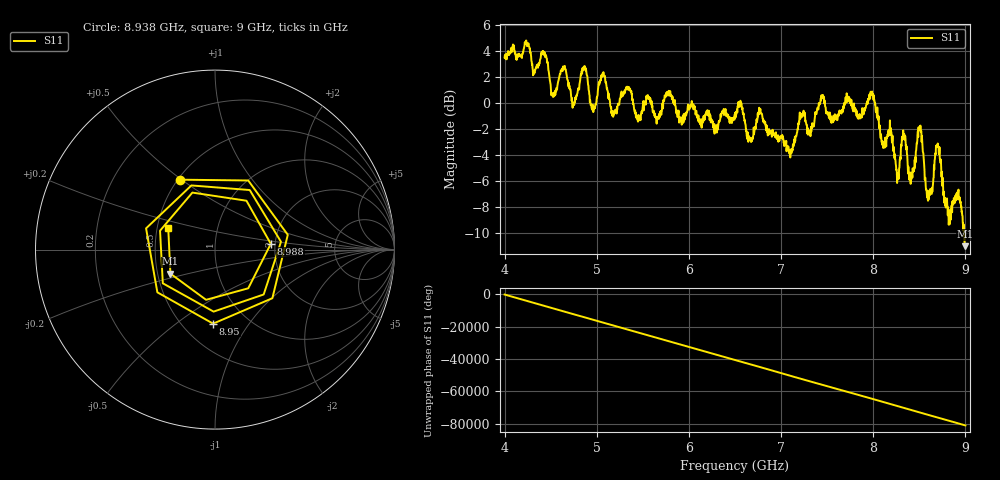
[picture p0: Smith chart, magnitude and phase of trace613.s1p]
! Created with skrf 1.8.0 (http://scikit-rf.org).
# Hz S RI R 50.0
!freq ReS11 ImS11
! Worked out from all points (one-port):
!   1601 points, 4 GHz to 9 GHz, reference 50 ohm
!   lowest |S11| = -11.0 dB at 8.997 GHz (marker M1), VSWR 1.79, Z = 29.2 - j8.49 ohm
!   |S11| at or under -10 dB: 8.986683 GHz to end of sweep
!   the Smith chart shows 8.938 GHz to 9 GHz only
!   S11 on the Smith chart (normalised r, x): 8.938 GHz: 0.51, +0.49; 8.95 GHz: 0.70, -0.69; 8.988 GHz: 1.90, +0.13; 9 GHz: 0.57, +0.15
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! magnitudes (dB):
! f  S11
! 4 GHz  3.5
! 4.428 GHz  3.9
! 4.528 GHz  0.7
! 4.625 GHz  2.6
! 4.75 GHz  -0.1
! 4.859 GHz  2.8
! 4.956 GHz  -0.1
! 5.062 GHz  2.3
! 5.25 GHz  0.3
! 5.875 GHz  -1.1
! 6.5 GHz  -1.1
! 7.125 GHz  -3.6
! 7.441 GHz  0.4
! 7.75 GHz  0.0
! 7.988 GHz  0.9
! 8.259 GHz  -6.1
! 8.325 GHz  -2.1
! 8.375 GHz  -4.9
! 8.422 GHz  -5.5
! 8.506 GHz  -1.8
! 8.594 GHz  -7.5
! 8.697 GHz  -3.3
! 8.809 GHz  -8.6
! 8.938 GHz  -7.2
! 8.95 GHz  -7.7
! 8.988 GHz  -10.1
! 8.997 GHz  -11.0
! 9 GHz  -10.9
